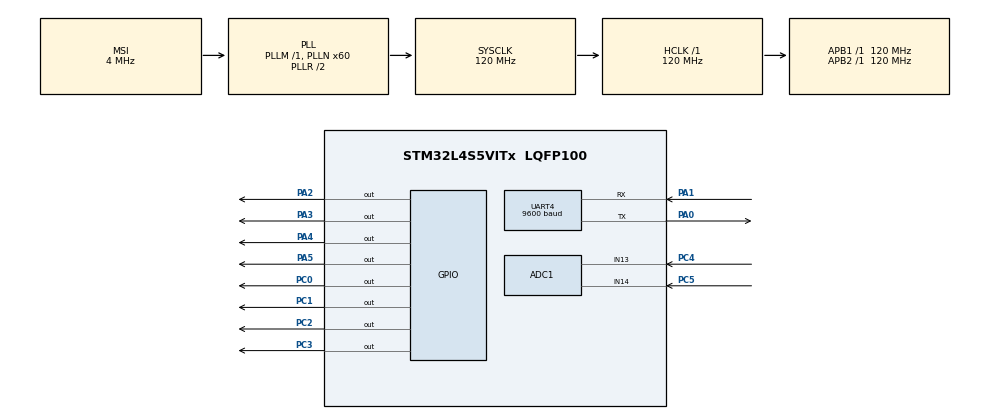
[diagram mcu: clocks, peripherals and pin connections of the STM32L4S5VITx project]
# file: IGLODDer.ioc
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ADC1.Channel-0\#ChannelRegularConversion=ADC_CHANNEL_13
ADC1.Channel-1\#ChannelRegularConversion=ADC_CHANNEL_14
ADC1.DiscontinuousConvMode=ENABLE
ADC1.NbrOfConversion=2
ADC1.NbrOfConversionFlag=1
ADC1.OffsetNumber-0\#ChannelRegularConversion=ADC_OFFSET_NONE
ADC1.OffsetNumber-1\#ChannelRegularConversion=ADC_OFFSET_NONE
ADC1.Rank-0\#ChannelRegularConversion=1
ADC1.Rank-1\#ChannelRegularConversion=2
ADC1.SamplingTime-0\#ChannelRegularConversion=ADC_SAMPLETIME_47CYCLES_5
ADC1.SamplingTime-1\#ChannelRegularConversion=ADC_SAMPLETIME_47CYCLES_5
ADC1.master=1
Mcu.Family=STM32L4
Mcu.Name=STM32L4S5VITx
Mcu.Package=LQFP100
NVIC.PriorityGroup=NVIC_PRIORITYGROUP_4
NVIC.TIM4_IRQn=true\:2\:0\:true\:false\:true\:true\:true
NVIC.TIM5_IRQn=true\:3\:0\:true\:false\:true\:true\:true
NVIC.UART4_IRQn=true\:1\:0\:true\:false\:true\:true\:true
PA0.Mode=Asynchronous
PA0.Signal=UART4_TX
PA1.Mode=Asynchronous
PA1.Signal=UART4_RX
PA13\ (JTMS/SWDIO).Mode=Serial_Wire
PA13\ (JTMS/SWDIO).Signal=SYS_JTMS-SWDIO
PA14\ (JTCK/SWCLK).Mode=Serial_Wire
PA14\ (JTCK/SWCLK).Signal=SYS_JTCK-SWCLK
PA2.Signal=GPIO_Output
PA3.Signal=GPIO_Output
PA4.Signal=GPIO_Output
PA5.Signal=GPIO_Output
PC0.Signal=GPIO_Output
PC1.Signal=GPIO_Output
PC14-OSC32_IN\ (PC14).Mode=LSE-External-Oscillator
PC14-OSC32_IN\ (PC14).Signal=RCC_OSC32_IN
PC15-OSC32_OUT\ (PC15).Mode=LSE-External-Oscillator
PC15-OSC32_OUT\ (PC15).Signal=RCC_OSC32_OUT
PC2.Signal=GPIO_Output
PC3.Signal=GPIO_Output
PC4.Signal=ADCx_IN13
PC5.Signal=ADCx_IN14
PH0-OSC_IN\ (PH0).Mode=HSE-External-Oscillator
PH0-OSC_IN\ (PH0).Signal=RCC_OSC_IN
PH1-OSC_OUT\ (PH1).Mode=HSE-External-Oscillator
PH1-OSC_OUT\ (PH1).Signal=RCC_OSC_OUT
ProjectManager.HeapSize=0x200
ProjectManager.StackSize=0x400
ProjectManager.TargetToolchain=STM32CubeIDE
RCC.ADCFreq_Value=48000000
RCC.AHBFreq_Value=120000000
RCC.APB1Freq_Value=120000000
RCC.APB1TimFreq_Value=120000000
RCC.APB2Freq_Value=120000000
RCC.APB2TimFreq_Value=120000000
RCC.CortexFreq_Value=120000000
RCC.HCLKFreq_Value=120000000
RCC.HSE_VALUE=8000000
RCC.HSI48_VALUE=48000000
RCC.HSI_VALUE=16000000
RCC.MSI_VALUE=4000000
RCC.PLLN=60
RCC.PLLSAI1N=24
RCC.SYSCLKFreq_VALUE=120000000
RCC.SYSCLKSource=RCC_SYSCLKSOURCE_PLLCLK
RCC.USBFreq_Value=48000000
RCC.VCOOutputFreq_Value=240000000
SH.ADCx_IN13.0=ADC1_IN13,IN13-Single-Ended
SH.ADCx_IN14.0=ADC1_IN14,IN14-Single-Ended
TIM4.Period=1000-1
TIM4.Prescaler=120-1
TIM5.Period=10000-1
TIM5.Prescaler=1200-1
UART4.BaudRate=9600
VP_TIM4_VS_ClockSourceINT.Mode=Internal
VP_TIM5_VS_ClockSourceINT.Mode=Internal
board=custom

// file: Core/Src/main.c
/* USER CODE BEGIN Header */
/**
  ******************************************************************************
  * @file           : main.c
  * @brief          : Main program body
  ******************************************************************************
  * @attention
  *
  * <h2><center>&copy; Copyright (c) 2020 STMicroelectronics.
  * All rights reserved.</center></h2>
  *
  * This software component is licensed by ST under BSD 3-Clause license,
  * the "License"; You may not use this file except in compliance with the
  * License. You may obtain a copy of the License at:
  *                        opensource.org/licenses/BSD-3-Clause
  *
  ******************************************************************************
  */
/* USER CODE END Header */
#include "main.h"

ADC_HandleTypeDef hadc1;

TIM_HandleTypeDef htim4;
TIM_HandleTypeDef htim5;

UART_HandleTypeDef huart4;

void SystemClock_Config(void);
static void MX_GPIO_Init(void);
static void MX_ADC1_Init(void);
static void MX_TIM4_Init(void);
static void MX_TIM5_Init(void);
static void MX_UART4_Init(void);

/* USER CODE BEGIN 0 */
int ADC_data13 = 0;
int ADC_data14 = 0;

int step=0;
int floor=0;
int direction=0;

int motorStep1[8]={0x09, 0x01, 0x03, 0x02, 0x06, 0x04, 0x0C, 0x08};	//GPIOC
int motorStep2[8]={0x20, 0x30, 0x10, 0x18, 0x08, 0x0C, 0x04, 0x24};	//GPIOA

uint8_t rxdata[2];

void HAL_TIM_PeriodElapsedCallback(TIM_HandleTypeDef *htim){
	  if(htim->Instance==TIM4){	//Motor
		  if(direction==1&&floor>0){	//down
			  GPIOC->ODR=motorStep1[step];
			  GPIOA->ODR=motorStep2[step];
			  step=(step+1)%8;
			  floor--;
		  }
		  else if(direction==2&&floor<13000){ //up
			  GPIOC->ODR=motorStep1[step];
			  GPIOA->ODR=motorStep2[step];
			  step=(step+7)%8;
			  floor++;
		  }
		  else{
			  GPIOA->BRR=0x3C;
			  GPIOC->BRR=0x0F;
		  }
	  }
	  if(htim->Instance==TIM5){	//Sensor
		  HAL_ADC_Start(&hadc1);
		  HAL_ADC_PollForConversion(&hadc1,100);
		  ADC_data13 = HAL_ADC_GetValue(&hadc1);

		  HAL_ADC_Start(&hadc1);
	 	  HAL_ADC_PollForConversion(&hadc1,100);
	  	  ADC_data14 = HAL_ADC_GetValue(&hadc1);

	  	  if(ADC_data13>3000)
	  		  direction=2;
	  	  else if(ADC_data14>3000)
	  		  direction=1;
	  	  else
	  		  direction=0;
	  }
  }

/* USER CODE END 0 */

int main(void)
{

  /* MCU Configuration--------------------------------------------------------*/

  /* Reset of all peripherals, Initializes the Flash interface and the Systick. */
  HAL_Init();

  /* Configure the system clock */
  SystemClock_Config();

  /* Initialize all configured peripherals */
  MX_GPIO_Init();
  MX_ADC1_Init();
  MX_TIM4_Init();
  MX_TIM5_Init();
  MX_UART4_Init();
  /* USER CODE BEGIN 2 */
  HAL_TIM_Base_Start_IT(&htim4);
  HAL_TIM_Base_Start_IT(&htim5);
  /* USER CODE END 2 */

  /* Infinite loop */
  while (1)
  {

  }
}

void SystemClock_Config(void)
{
  RCC_OscInitTypeDef RCC_OscInitStruct = {0};
  RCC_ClkInitTypeDef RCC_ClkInitStruct = {0};
  RCC_PeriphCLKInitTypeDef PeriphClkInit = {0};

  /** Configure the main internal regulator output voltage
  */
  if (HAL_PWREx_ControlVoltageScaling(PWR_REGULATOR_VOLTAGE_SCALE1_BOOST) != HAL_OK)
  {
    Error_Handler();
  }
  /** Initializes the RCC Oscillators according to the specified parameters
  * in the RCC_OscInitTypeDef structure.
  */
  RCC_OscInitStruct.OscillatorType = RCC_OSCILLATORTYPE_MSI;
  RCC_OscInitStruct.MSIState = RCC_MSI_ON;
  RCC_OscInitStruct.MSICalibrationValue = 0;
  RCC_OscInitStruct.MSIClockRange = RCC_MSIRANGE_6;
  RCC_OscInitStruct.PLL.PLLState = RCC_PLL_ON;
  RCC_OscInitStruct.PLL.PLLSource = RCC_PLLSOURCE_MSI;
  RCC_OscInitStruct.PLL.PLLM = 1;
  RCC_OscInitStruct.PLL.PLLN = 60;
  RCC_OscInitStruct.PLL.PLLP = RCC_PLLP_DIV2;
  RCC_OscInitStruct.PLL.PLLQ = RCC_PLLQ_DIV2;
  RCC_OscInitStruct.PLL.PLLR = RCC_PLLR_DIV2;
  if (HAL_RCC_OscConfig(&RCC_OscInitStruct) != HAL_OK)
  {
    Error_Handler();
  }
  /** Initializes the CPU, AHB and APB buses clocks
  */
  RCC_ClkInitStruct.ClockType = RCC_CLOCKTYPE_HCLK|RCC_CLOCKTYPE_SYSCLK
                              |RCC_CLOCKTYPE_PCLK1|RCC_CLOCKTYPE_PCLK2;
  RCC_ClkInitStruct.SYSCLKSource = RCC_SYSCLKSOURCE_PLLCLK;
  RCC_ClkInitStruct.AHBCLKDivider = RCC_SYSCLK_DIV1;
  RCC_ClkInitStruct.APB1CLKDivider = RCC_HCLK_DIV1;
  RCC_ClkInitStruct.APB2CLKDivider = RCC_HCLK_DIV1;

  if (HAL_RCC_ClockConfig(&RCC_ClkInitStruct, FLASH_LATENCY_5) != HAL_OK)
  {
    Error_Handler();
  }
  PeriphClkInit.PeriphClockSelection = RCC_PERIPHCLK_UART4|RCC_PERIPHCLK_ADC;
  PeriphClkInit.Uart4ClockSelection = RCC_UART4CLKSOURCE_PCLK1;
  PeriphClkInit.AdcClockSelection = RCC_ADCCLKSOURCE_PLLSAI1;
  PeriphClkInit.PLLSAI1.PLLSAI1Source = RCC_PLLSOURCE_MSI;
  PeriphClkInit.PLLSAI1.PLLSAI1M = 1;
  PeriphClkInit.PLLSAI1.PLLSAI1N = 24;
  PeriphClkInit.PLLSAI1.PLLSAI1P = RCC_PLLP_DIV2;
  PeriphClkInit.PLLSAI1.PLLSAI1Q = RCC_PLLQ_DIV2;
  PeriphClkInit.PLLSAI1.PLLSAI1R = RCC_PLLR_DIV2;
  PeriphClkInit.PLLSAI1.PLLSAI1ClockOut = RCC_PLLSAI1_ADC1CLK;
  if (HAL_RCCEx_PeriphCLKConfig(&PeriphClkInit) != HAL_OK)
  {
    Error_Handler();
  }
}

static void MX_ADC1_Init(void)
{

  ADC_ChannelConfTypeDef sConfig = {0};

  /** Common config
  */
  hadc1.Instance = ADC1;
  hadc1.Init.ClockPrescaler = ADC_CLOCK_ASYNC_DIV1;
  hadc1.Init.Resolution = ADC_RESOLUTION_12B;
  hadc1.Init.DataAlign = ADC_DATAALIGN_RIGHT;
  hadc1.Init.ScanConvMode = ADC_SCAN_ENABLE;
  hadc1.Init.EOCSelection = ADC_EOC_SINGLE_CONV;
  hadc1.Init.LowPowerAutoWait = DISABLE;
  hadc1.Init.ContinuousConvMode = DISABLE;
  hadc1.Init.NbrOfConversion = 2;
  hadc1.Init.DiscontinuousConvMode = ENABLE;
  hadc1.Init.NbrOfDiscConversion = 1;
  hadc1.Init.ExternalTrigConv = ADC_SOFTWARE_START;
  hadc1.Init.ExternalTrigConvEdge = ADC_EXTERNALTRIGCONVEDGE_NONE;
  hadc1.Init.DMAContinuousRequests = DISABLE;
  hadc1.Init.Overrun = ADC_OVR_DATA_PRESERVED;
  hadc1.Init.OversamplingMode = DISABLE;
  if (HAL_ADC_Init(&hadc1) != HAL_OK)
  {
    Error_Handler();
  }
  /** Configure Regular Channel
  */
  sConfig.Channel = ADC_CHANNEL_13;
  sConfig.Rank = ADC_REGULAR_RANK_1;
  sConfig.SamplingTime = ADC_SAMPLETIME_47CYCLES_5;
  sConfig.SingleDiff = ADC_SINGLE_ENDED;
  sConfig.OffsetNumber = ADC_OFFSET_NONE;
  sConfig.Offset = 0;
  if (HAL_ADC_ConfigChannel(&hadc1, &sConfig) != HAL_OK)
  {
    Error_Handler();
  }
  /** Configure Regular Channel
  */
  sConfig.Channel = ADC_CHANNEL_14;
  sConfig.Rank = ADC_REGULAR_RANK_2;
  if (HAL_ADC_ConfigChannel(&hadc1, &sConfig) != HAL_OK)
  {
    Error_Handler();
  }

}

static void MX_TIM4_Init(void)
{

  TIM_ClockConfigTypeDef sClockSourceConfig = {0};
  TIM_MasterConfigTypeDef sMasterConfig = {0};

  htim4.Instance = TIM4;
  htim4.Init.Prescaler = 120-1;
  htim4.Init.CounterMode = TIM_COUNTERMODE_UP;
  htim4.Init.Period = 1000-1;
  htim4.Init.ClockDivision = TIM_CLOCKDIVISION_DIV1;
  htim4.Init.AutoReloadPreload = TIM_AUTORELOAD_PRELOAD_DISABLE;
  if (HAL_TIM_Base_Init(&htim4) != HAL_OK)
  {
    Error_Handler();
  }
  sClockSourceConfig.ClockSource = TIM_CLOCKSOURCE_INTERNAL;
  if (HAL_TIM_ConfigClockSource(&htim4, &sClockSourceConfig) != HAL_OK)
  {
    Error_Handler();
  }
  sMasterConfig.MasterOutputTrigger = TIM_TRGO_RESET;
  sMasterConfig.MasterSlaveMode = TIM_MASTERSLAVEMODE_DISABLE;
  if (HAL_TIMEx_MasterConfigSynchronization(&htim4, &sMasterConfig) != HAL_OK)
  {
    Error_Handler();
  }

}

static void MX_TIM5_Init(void)
{

  TIM_ClockConfigTypeDef sClockSourceConfig = {0};
  TIM_MasterConfigTypeDef sMasterConfig = {0};

  htim5.Instance = TIM5;
  htim5.Init.Prescaler = 1200-1;
  htim5.Init.CounterMode = TIM_COUNTERMODE_UP;
  htim5.Init.Period = 10000-1;
  htim5.Init.ClockDivision = TIM_CLOCKDIVISION_DIV1;
  htim5.Init.AutoReloadPreload = TIM_AUTORELOAD_PRELOAD_DISABLE;
  if (HAL_TIM_Base_Init(&htim5) != HAL_OK)
  {
    Error_Handler();
  }
  sClockSourceConfig.ClockSource = TIM_CLOCKSOURCE_INTERNAL;
  if (HAL_TIM_ConfigClockSource(&htim5, &sClockSourceConfig) != HAL_OK)
  {
    Error_Handler();
  }
  sMasterConfig.MasterOutputTrigger = TIM_TRGO_RESET;
  sMasterConfig.MasterSlaveMode = TIM_MASTERSLAVEMODE_DISABLE;
  if (HAL_TIMEx_MasterConfigSynchronization(&htim5, &sMasterConfig) != HAL_OK)
  {
    Error_Handler();
  }

}

static void MX_UART4_Init(void)
{

  huart4.Instance = UART4;
  huart4.Init.BaudRate = 9600;
  huart4.Init.WordLength = UART_WORDLENGTH_8B;
  huart4.Init.StopBits = UART_STOPBITS_1;
  huart4.Init.Parity = UART_PARITY_NONE;
  huart4.Init.Mode = UART_MODE_TX_RX;
  huart4.Init.HwFlowCtl = UART_HWCONTROL_NONE;
  huart4.Init.OverSampling = UART_OVERSAMPLING_16;
  huart4.Init.OneBitSampling = UART_ONE_BIT_SAMPLE_DISABLE;
  huart4.Init.ClockPrescaler = UART_PRESCALER_DIV1;
  huart4.AdvancedInit.AdvFeatureInit = UART_ADVFEATURE_NO_INIT;
  if (HAL_UART_Init(&huart4) != HAL_OK)
  {
    Error_Handler();
  }
  if (HAL_UARTEx_SetTxFifoThreshold(&huart4, UART_TXFIFO_THRESHOLD_1_8) != HAL_OK)
  {
    Error_Handler();
  }
  if (HAL_UARTEx_SetRxFifoThreshold(&huart4, UART_RXFIFO_THRESHOLD_1_8) != HAL_OK)
  {
    Error_Handler();
  }
  if (HAL_UARTEx_DisableFifoMode(&huart4) != HAL_OK)
  {
    Error_Handler();
  }

}

static void MX_GPIO_Init(void)
{
  GPIO_InitTypeDef GPIO_InitStruct = {0};

  /* GPIO Ports Clock Enable */
  __HAL_RCC_GPIOC_CLK_ENABLE();
  __HAL_RCC_GPIOH_CLK_ENABLE();
  __HAL_RCC_GPIOA_CLK_ENABLE();

  /*Configure GPIO pin Output Level */
  HAL_GPIO_WritePin(GPIOC, GPIO_PIN_0|GPIO_PIN_1|GPIO_PIN_2|GPIO_PIN_3, GPIO_PIN_RESET);

  /*Configure GPIO pin Output Level */
  HAL_GPIO_WritePin(GPIOA, GPIO_PIN_2|GPIO_PIN_3|GPIO_PIN_4|GPIO_PIN_5, GPIO_PIN_RESET);

  /*Configure GPIO pins : PC0 PC1 PC2 PC3 */
  GPIO_InitStruct.Pin = GPIO_PIN_0|GPIO_PIN_1|GPIO_PIN_2|GPIO_PIN_3;
  GPIO_InitStruct.Mode = GPIO_MODE_OUTPUT_PP;
  GPIO_InitStruct.Pull = GPIO_NOPULL;
  GPIO_InitStruct.Speed = GPIO_SPEED_FREQ_LOW;
  HAL_GPIO_Init(GPIOC, &GPIO_InitStruct);

  /*Configure GPIO pins : PA2 PA3 PA4 PA5 */
  GPIO_InitStruct.Pin = GPIO_PIN_2|GPIO_PIN_3|GPIO_PIN_4|GPIO_PIN_5;
  GPIO_InitStruct.Mode = GPIO_MODE_OUTPUT_PP;
  GPIO_InitStruct.Pull = GPIO_NOPULL;
  GPIO_InitStruct.Speed = GPIO_SPEED_FREQ_LOW;
  HAL_GPIO_Init(GPIOA, &GPIO_InitStruct);

}

void Error_Handler(void)
{
  __disable_irq();
  while (1)
  {
  }
}

/************************ (C) COPYRIGHT STMicroelectronics *****END OF FILE****/
